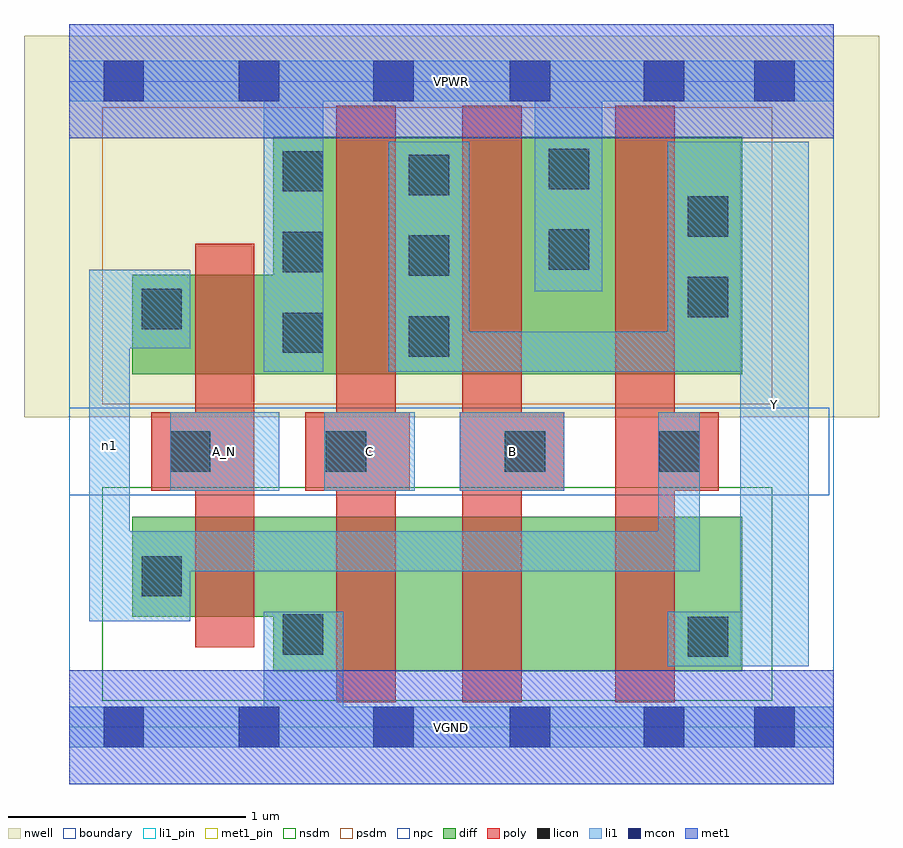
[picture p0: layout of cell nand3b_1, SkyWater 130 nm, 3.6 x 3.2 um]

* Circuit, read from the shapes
.subckt nand3b_1 A_N B C VGND VPWR Y n1
XM1 VGND A_N n1 VSUBS sky130_fd_pr__nfet_01v8 w=0.42 l=0.25
XM2 n2 C VGND VSUBS sky130_fd_pr__nfet_01v8 w=0.65 l=0.25
XM3 n3 B n2 VSUBS sky130_fd_pr__nfet_01v8 w=0.65 l=0.25
XM4 Y n1 n3 VSUBS sky130_fd_pr__nfet_01v8 w=0.65 l=0.25
XM5 VPWR A_N n1 n4 sky130_fd_pr__pfet_01v8 w=0.42 l=0.25
XM6 Y C VPWR n4 sky130_fd_pr__pfet_01v8 w=1 l=0.25
XM7 VPWR B Y n4 sky130_fd_pr__pfet_01v8 w=1 l=0.25
XM8 Y n1 VPWR n4 sky130_fd_pr__pfet_01v8 w=1 l=0.25
.ends

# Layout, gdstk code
import gdstk
lib = gdstk.Library(unit=1e-6, precision=1e-09)
def R(c, l, rs):  # rectangles x0, y0, x1, y1
    for r in rs: c.add(gdstk.rectangle(r[:2], r[2:], *l))
def A(c, l, x, y, w, h, nx, ny, dx, dy):  # array of equal rectangles
    R(c, l, [(x+i*dx, y+j*dy, x+i*dx+w, y+j*dy+h) for i in range(nx) for j in range(ny)])
nwell = (64, 20)
diff = (65, 20)
poly = (66, 20)
licon = (66, 44)
li1_pin = (67, 16)
li1 = (67, 20)
mcon = (67, 44)
met1_pin = (68, 16)
met1 = (68, 20)
nsdm = (93, 44)
psdm = (94, 20)
npc = (95, 20)
boundary = (235, 4)

nand3b_1 = lib.new_cell('nand3b_1')
R(nand3b_1, nwell, [(-0.19,1.305,3.41,2.91), (0,1.305,3.22,2.91)])
R(nand3b_1, diff, [(0.86,0.235,2.835,0.885), (0.265,0.465,2.835,0.885), (0.265,1.485,2.835,1.905), (0.86,1.485,2.835,2.485)])
R(nand3b_1, poly, [(1.125,0.105,1.375,2.615), (1.655,0.105,1.905,2.615), (2.3,0.105,2.55,2.615), (0.53,0.335,0.78,2.035), (0.345,0.995,0.78,1.325), (0.995,0.995,1.435,1.325), (1.645,0.995,2.085,1.325), (2.3,0.995,2.735,1.325)])
A(nand3b_1, licon, 1.43, 1.56, 0.17, 0.17, 1, 3, 0, 0.34)
A(nand3b_1, licon, 0.9, 1.575, 0.17, 0.17, 1, 3, 0, 0.34)
R(nand3b_1, licon, [(2.605,0.295,2.775,0.465), (0.9,0.305,1.07,0.475), (0.305,0.55,0.475,0.72), (0.425,1.075,0.595,1.245), (1.08,1.075,1.25,1.245), (1.835,1.075,2.005,1.245), (2.485,1.075,2.655,1.245), (0.305,1.675,0.475,1.845), (2.605,1.725,2.775,1.895), (2.02,1.925,2.19,2.095), (2.605,2.065,2.775,2.235), (2.02,2.265,2.19,2.435)])
R(nand3b_1, li1_pin, [(2.825,0.255,3.115,2.465), (0.425,0.995,0.885,1.325), (1.075,0.995,1.455,1.325), (1.645,0.995,2.085,1.325)])
R(nand3b_1, li1, [(0,-0.085,3.22,0.085), (0.82,-0.085,1.155,0.485), (2.52,0.255,3.115,0.485), (2.825,0.255,3.115,2.465), (0.085,0.445,0.255,1.925), (0.085,0.445,0.51,0.825), (0.085,0.655,2.655,0.825), (2.48,0.655,2.655,1.325), (0.425,0.995,0.885,1.325), (1.075,0.995,1.455,1.325), (1.645,0.995,2.085,1.325), (0.82,1.495,1.07,2.805), (1.345,1.495,1.685,2.465), (1.345,1.495,3.115,1.665), (2.52,1.495,2.825,2.465), (0.085,1.595,0.51,1.925), (1.96,1.835,2.245,2.805), (0,2.635,3.22,2.805)])
R(nand3b_1, mcon, [(0.145,-0.085,0.315,0.085), (0.715,-0.085,0.885,0.085), (1.28,-0.085,1.45,0.085), (1.855,-0.085,2.025,0.085), (2.42,-0.085,2.59,0.085), (2.885,-0.085,3.055,0.085), (0.145,2.635,0.315,2.805), (0.715,2.635,0.885,2.805), (1.28,2.635,1.45,2.805), (1.855,2.635,2.025,2.805), (2.42,2.635,2.59,2.805), (2.885,2.635,3.055,2.805)])
R(nand3b_1, met1_pin, [(0,-0.24,3.22,0.24), (0,2.48,3.22,2.96)])
R(nand3b_1, met1, [(0,-0.24,3.22,0.24), (0,2.48,3.22,2.96)])
R(nand3b_1, nsdm, [(0.14,0.11,2.96,1.01)])
R(nand3b_1, psdm, [(0.14,1.36,2.96,2.61)])
R(nand3b_1, npc, [(0,0.975,3.2,1.345)])
R(nand3b_1, boundary, [(0,0,3.22,2.72)])
nand3b_1.add(gdstk.Label('A_N', (0.655,1.16), layer=67, texttype=5))
nand3b_1.add(gdstk.Label('B', (1.865,1.16), layer=67, texttype=5))
nand3b_1.add(gdstk.Label('C', (1.265,1.16), layer=67, texttype=5))
nand3b_1.add(gdstk.Label('Y', (2.97,1.36), layer=67, texttype=5))
nand3b_1.add(gdstk.Label('n1', (0.17,1.185), layer=67, texttype=5))
nand3b_1.add(gdstk.Label('VPWR', (1.61,2.72), layer=68, texttype=5))
nand3b_1.add(gdstk.Label('VGND', (1.61,0), layer=68, texttype=5))
nand3b_1.add(gdstk.Label('A_N', (0.655,1.16), layer=67, texttype=16))
nand3b_1.add(gdstk.Label('B', (1.865,1.16), layer=67, texttype=16))
nand3b_1.add(gdstk.Label('C', (1.265,1.16), layer=67, texttype=16))
nand3b_1.add(gdstk.Label('Y', (2.97,1.36), layer=67, texttype=16))
nand3b_1.add(gdstk.Label('VPWR', (1.61,2.72), layer=68, texttype=16))
nand3b_1.add(gdstk.Label('VGND', (1.61,0), layer=68, texttype=16))

lib.write_gds('nand3b_1.gds')
